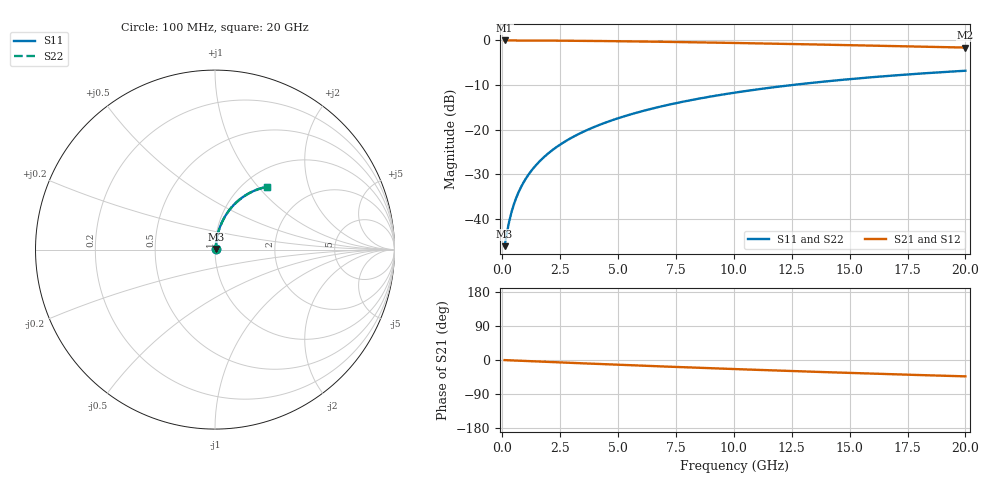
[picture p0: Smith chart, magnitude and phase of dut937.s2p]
! Touchstone file exported from HFSS 2024.1.0
!  File:  C:/UserFiles/LocalFiles/RDL_TSV_Batchsim/temp_RDL_bottom_937_1779941626.aedt
!  Generated:  12:16:05 PM May 28, 2026
!  Design:  RDL_bottom
!  Project:  temp_RDL_bottom_937_1779941626
!  Setup:  Setup1
!  Solution:  Sweep
! Variables:
!  dtsv = 10.80580581um
!  hbump = 3um
!  htsv = 76.25um
!  ldown = 602.34um
!  lrdl = 100um
!  p = 40
!  p1 = 42.31um
!  rhole = 1um
!  t = 450um
!  tdown = 4.44um
!  trdl = 3.915915916um
!  wdown = 11.95um
!  wrdl = 20um
# GHz S MA R 50.000000
! Terminal data exported
! Port[1] = RDL1_T1
! Port[2] = RDL1_T2
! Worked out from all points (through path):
!   200 points, 100 MHz to 20 GHz, reference 50 ohm
!   highest |S21| = -0.04 dB at 100 MHz (marker M1); lowest = -1.6 dB at 20 GHz (marker M2)
!   group delay of S21, straight-line fit = 5.99 ps
!   lowest |S11| = -46.1 dB at 100 MHz (marker M3), VSWR 1.01, Z = 50.4 + j0.285 ohm
!   |S11| at or under -10 dB: start of sweep to 12.55 GHz
!   |S22| runs from -46.1 to -6.8 dB; largest |S21 - S12| = 3e-15
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0.1  0.004956 34.8  0.9959 -0.3  0.9959 -0.3  0.004956 34.8
! Gamma 0 0 0 0
! Port Impedance 50 0 50 0
0.2  0.007007 53.5  0.9958 -0.5  0.9958 -0.5  0.007007 53.5
0.3  0.009435 62.9  0.9957 -0.8  0.9957 -0.8  0.009435 62.9
0.4  0.01198 68.2  0.9956 -1.0  0.9956 -1.0  0.01198 68.1
0.5  0.01458 71.5  0.9954 -1.3  0.9954 -1.3  0.01458 71.5
0.6  0.0172 73.8  0.9953 -1.5  0.9953 -1.5  0.0172 73.8
0.8  0.02249 76.7  0.995 -2.1  0.995 -2.1  0.02249 76.7
1.1  0.03048 79.0  0.9944 -2.8  0.9944 -2.8  0.03048 79.0
1.5  0.04119 80.3  0.9935 -3.8  0.9935 -3.8  0.04119 80.3
1.8  0.04924 80.7  0.9927 -4.6  0.9927 -4.6  0.04924 80.7
2.1  0.05729 80.8  0.9918 -5.3  0.9918 -5.3  0.05729 80.8
2.7  0.07335 80.5  0.9895 -6.9  0.9895 -6.9  0.07335 80.5
3.5  0.09465 79.6  0.9857 -8.8  0.9857 -8.8  0.09464 79.6
4.2  0.1131 78.6  0.9818 -10.6  0.9818 -10.6  0.1131 78.6
5  0.1341 77.3  0.9767 -12.5  0.9767 -12.5  0.134 77.3
5.9  0.1573 75.7  0.9702 -14.6  0.9702 -14.6  0.1573 75.7
6.8  0.1802 74.1  0.9631 -16.7  0.9631 -16.7  0.1802 74.1
8.3  0.2176 71.3  0.9501 -20.1  0.9501 -20.1  0.2175 71.3
10.1  0.2608 68.0  0.9332 -24.1  0.9332 -24.1  0.2607 67.9
13.4  0.3345 61.8  0.8994 -30.9  0.8994 -30.9  0.3343 61.7
16.7  0.3998 55.8  0.8641 -37.3  0.8641 -37.3  0.3996 55.8
20  0.4563 50.2  0.8288 -43.2  0.8288 -43.2  0.4559 50.1
